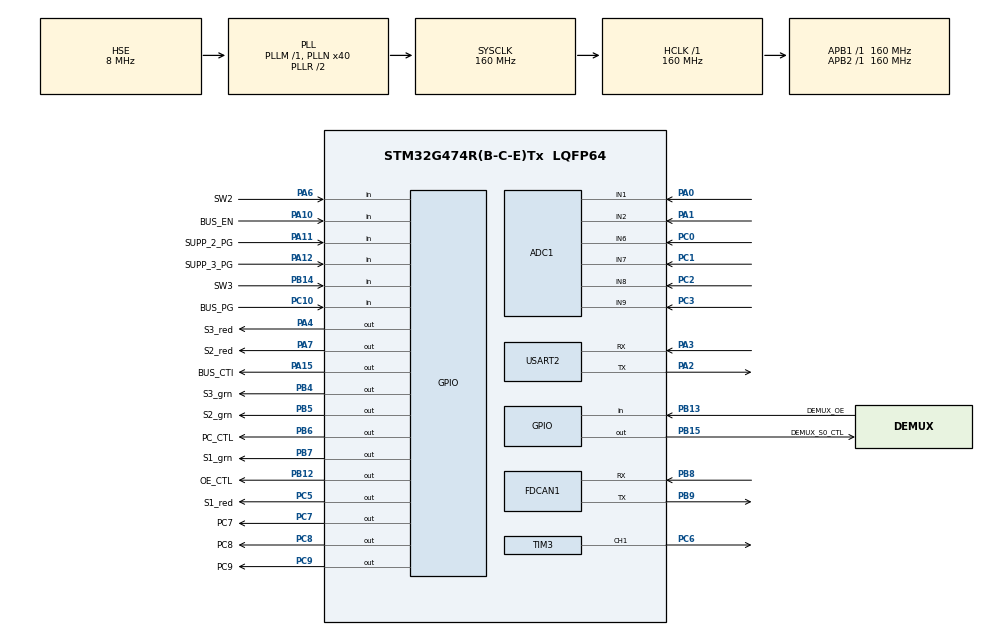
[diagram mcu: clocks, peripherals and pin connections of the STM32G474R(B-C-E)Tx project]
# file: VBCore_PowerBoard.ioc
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ADC1.Channel-0\#ChannelRegularConversion=ADC_CHANNEL_1
ADC1.Channel-1\#ChannelRegularConversion=ADC_CHANNEL_2
ADC1.Channel-2\#ChannelRegularConversion=ADC_CHANNEL_6
ADC1.Channel-3\#ChannelRegularConversion=ADC_CHANNEL_7
ADC1.Channel-4\#ChannelRegularConversion=ADC_CHANNEL_8
ADC1.Channel-5\#ChannelRegularConversion=ADC_CHANNEL_9
ADC1.ClockPrescaler=ADC_CLOCK_ASYNC_DIV128
ADC1.ContinuousConvMode=ENABLE
ADC1.DMAContinuousRequests=ENABLE
ADC1.EOCSelection=ADC_EOC_SEQ_CONV
ADC1.NbrOfConversion=6
ADC1.NbrOfConversionFlag=1
ADC1.OffsetNumber-0\#ChannelRegularConversion=ADC_OFFSET_NONE
ADC1.OffsetNumber-1\#ChannelRegularConversion=ADC_OFFSET_NONE
ADC1.OffsetNumber-2\#ChannelRegularConversion=ADC_OFFSET_NONE
ADC1.OffsetNumber-3\#ChannelRegularConversion=ADC_OFFSET_NONE
ADC1.OffsetNumber-4\#ChannelRegularConversion=ADC_OFFSET_NONE
ADC1.OffsetNumber-5\#ChannelRegularConversion=ADC_OFFSET_NONE
ADC1.Overrun=ADC_OVR_DATA_OVERWRITTEN
ADC1.OversamplingMode=DISABLE
ADC1.Rank-0\#ChannelRegularConversion=1
ADC1.Rank-1\#ChannelRegularConversion=2
ADC1.Rank-2\#ChannelRegularConversion=3
ADC1.Rank-3\#ChannelRegularConversion=4
ADC1.Rank-4\#ChannelRegularConversion=5
ADC1.Rank-5\#ChannelRegularConversion=6
ADC1.SamplingTime-0\#ChannelRegularConversion=ADC_SAMPLETIME_24CYCLES_5
ADC1.SamplingTime-1\#ChannelRegularConversion=ADC_SAMPLETIME_24CYCLES_5
ADC1.SamplingTime-2\#ChannelRegularConversion=ADC_SAMPLETIME_24CYCLES_5
ADC1.SamplingTime-3\#ChannelRegularConversion=ADC_SAMPLETIME_24CYCLES_5
ADC1.SamplingTime-4\#ChannelRegularConversion=ADC_SAMPLETIME_24CYCLES_5
ADC1.SamplingTime-5\#ChannelRegularConversion=ADC_SAMPLETIME_24CYCLES_5
ADC1.master=1
Dma.ADC1.0.Direction=DMA_PERIPH_TO_MEMORY
Dma.ADC1.0.EventEnable=DISABLE
Dma.ADC1.0.Instance=DMA1_Channel1
Dma.ADC1.0.MemDataAlignment=DMA_MDATAALIGN_WORD
Dma.ADC1.0.MemInc=DMA_MINC_ENABLE
Dma.ADC1.0.Mode=DMA_CIRCULAR
Dma.ADC1.0.PeriphDataAlignment=DMA_PDATAALIGN_WORD
Dma.ADC1.0.PeriphInc=DMA_PINC_DISABLE
Dma.ADC1.0.Polarity=HAL_DMAMUX_REQ_GEN_RISING
Dma.ADC1.0.Priority=DMA_PRIORITY_LOW
Dma.ADC1.0.RequestNumber=1
Dma.ADC1.0.SignalID=NONE
Dma.ADC1.0.SyncEnable=DISABLE
Dma.ADC1.0.SyncPolarity=HAL_DMAMUX_SYNC_NO_EVENT
Dma.ADC1.0.SyncRequestNumber=1
Dma.ADC1.0.SyncSignalID=NONE
Dma.Request0=ADC1
FDCAN1.AutoRetransmission=ENABLE
FDCAN1.CalculateBaudRateNominal=1000000
FDCAN1.CalculateTimeBitNominal=1000
FDCAN1.CalculateTimeQuantumNominal=12.5
FDCAN1.ClockDivider=FDCAN_CLOCK_DIV2
FDCAN1.DataPrescaler=1
FDCAN1.DataSyncJumpWidth=4
FDCAN1.DataTimeSeg1=5
FDCAN1.DataTimeSeg2=4
FDCAN1.ExtFiltersNbr=1
FDCAN1.FrameFormat=FDCAN_FRAME_FD_BRS
FDCAN1.NominalPrescaler=1
FDCAN1.NominalSyncJumpWidth=24
FDCAN1.NominalTimeSeg1=55
FDCAN1.NominalTimeSeg2=24
Mcu.Family=STM32G4
Mcu.Name=STM32G474R(B-C-E)Tx
Mcu.Package=LQFP64
NVIC.DMA1_Channel1_IRQn=true\:0\:0\:false\:false\:true\:false\:true\:true
NVIC.PriorityGroup=NVIC_PRIORITYGROUP_4
NVIC.TIM1_UP_TIM16_IRQn=true\:2\:0\:true\:false\:true\:true\:true\:true
NVIC.TIM6_DAC_IRQn=true\:1\:0\:true\:false\:true\:true\:true\:true
NVIC.TIM7_DAC_IRQn=true\:0\:0\:false\:false\:true\:true\:true\:true
PA0.Mode=IN1-Single-Ended
PA0.Signal=ADC1_IN1
PA1.Mode=IN2-Single-Ended
PA1.Signal=ADC1_IN2
PA10.GPIO_Label=BUS_EN
PA10.Signal=GPIO_Input
PA11.GPIO_Label=SUPP_2_PG
PA11.GPIO_PuPd=GPIO_PULLUP
PA11.Signal=GPIO_Input
PA12.GPIO_Label=SUPP_3_PG
PA12.GPIO_PuPd=GPIO_PULLUP
PA12.Signal=GPIO_Input
PA13.Mode=Serial_Wire
PA13.Signal=SYS_JTMS-SWDIO
PA14.Mode=Serial_Wire
PA14.Signal=SYS_JTCK-SWCLK
PA15.GPIO_Label=BUS_CTl
PA15.Signal=GPIO_Output
PA2.Mode=Asynchronous
PA2.Signal=USART2_TX
PA3.Mode=Asynchronous
PA3.Signal=USART2_RX
PA4.GPIO_Label=S3_red
PA4.Signal=GPIO_Output
PA6.GPIO_Label=SW2
PA6.GPIO_PuPd=GPIO_PULLUP
PA6.Signal=GPIO_Input
PA7.GPIO_Label=S2_red
PA7.Signal=GPIO_Output
PB12.GPIO_Label=OE_CTL
PB12.Signal=GPIO_Output
PB13.GPIO_Label=DEMUX_OE
PB13.Signal=GPIO_Input
PB14.GPIO_Label=SW3
PB14.GPIO_PuPd=GPIO_PULLUP
PB14.Signal=GPIO_Input
PB15.GPIO_Label=DEMUX_S0_CTL
PB15.Signal=GPIO_Output
PB4.GPIO_Label=S3_grn
PB4.Signal=GPIO_Output
PB5.GPIO_Label=S2_grn
PB5.Signal=GPIO_Output
PB6.GPIO_Label=PC_CTL
PB6.Signal=GPIO_Output
PB7.GPIO_Label=S1_grn
PB7.Signal=GPIO_Output
PB8-BOOT0.Mode=FDCAN_Activate
PB8-BOOT0.Signal=FDCAN1_RX
PB9.Mode=FDCAN_Activate
PB9.Signal=FDCAN1_TX
PC0.Mode=IN6-Single-Ended
PC0.Signal=ADC1_IN6
PC1.Mode=IN7-Single-Ended
PC1.Signal=ADC1_IN7
PC10.GPIO_Label=BUS_PG
PC10.GPIO_PuPd=GPIO_PULLUP
PC10.Signal=GPIO_Input
PC2.Mode=IN8-Single-Ended
PC2.Signal=ADC1_IN8
PC3.Mode=IN9-Single-Ended
PC3.Signal=ADC1_IN9
PC5.GPIO_Label=S1_red
PC5.Signal=GPIO_Output
PC6.Signal=S_TIM3_CH1
PC7.GPIO_Label=PC7
PC7.Signal=GPIO_Output
PC8.GPIO_Label=PC8
PC8.Signal=GPIO_Output
PC9.GPIO_Label=PC9
PC9.Signal=GPIO_Output
PF0-OSC_IN.Mode=HSE-External-Oscillator
PF0-OSC_IN.Signal=RCC_OSC_IN
PF1-OSC_OUT.Mode=HSE-External-Oscillator
PF1-OSC_OUT.Signal=RCC_OSC_OUT
ProjectManager.HeapSize=0x2000
ProjectManager.StackSize=0x4000
ProjectManager.TargetToolchain=EWARM V8
RCC.ADC12Freq_Value=160000000
RCC.ADC345Freq_Value=160000000
RCC.AHBFreq_Value=160000000
RCC.APB1Freq_Value=160000000
RCC.APB1TimFreq_Value=160000000
RCC.APB2Freq_Value=160000000
RCC.APB2TimFreq_Value=160000000
RCC.CortexFreq_Value=160000000
RCC.EXTERNAL_CLOCK_VALUE=12288000
RCC.HCLKFreq_Value=160000000
RCC.HSE_VALUE=8000000
RCC.HSI48_VALUE=48000000
RCC.HSI_VALUE=16000000
RCC.LSE_VALUE=32768
RCC.PLLN=40
RCC.PLLSourceVirtual=RCC_PLLSOURCE_HSE
RCC.SYSCLKFreq_VALUE=160000000
RCC.SYSCLKSource=RCC_SYSCLKSOURCE_PLLCLK
RCC.USBFreq_Value=160000000
RCC.VCOOutputFreq_Value=320000000
SH.S_TIM3_CH1.0=TIM3_CH1,PWM Generation1 CH1
TIM16.PeriodNoDither=4999
TIM16.Prescaler=159
TIM3.Channel-PWM\ Generation1\ CH1=TIM_CHANNEL_1
TIM3.PeriodNoDither=255
TIM3.Prescaler=624
TIM3.PulseNoDither_1=10
TIM6.PeriodNoDither=4999
TIM6.Prescaler=159
TIM7.PeriodNoDither=49999
TIM7.Prescaler=159
USART2.VirtualMode-Asynchronous=VM_ASYNC
VP_SYS_VS_DBSignals.Mode=DisableDeadBatterySignals
VP_TIM16_VS_ClockSourceINT.Mode=Enable_Timer
VP_TIM6_VS_ClockSourceINT.Mode=Enable_Timer
VP_TIM7_VS_ClockSourceINT.Mode=Enable_Timer
board=custom

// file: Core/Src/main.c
/* USER CODE BEGIN Header */
/**
  ******************************************************************************
  * @file           : main.c
  * @brief          : Main program body
  ******************************************************************************
  * @attention
  *
  * Copyright (c) 2023 STMicroelectronics.
  * All rights reserved.
  *
  * This software is licensed under terms that can be found in the LICENSE file
  * in the root directory of this software component.
  * If no LICENSE file comes with this software, it is provided AS-IS.
  *
  ******************************************************************************
  */
/* USER CODE END Header */
#include "main.h"

/* USER CODE BEGIN Includes */
#include "my_helpers.h"
#include "communication.h"

#include <stdio.h>
#include <stdarg.h>
/* USER CODE END Includes */

/* USER CODE BEGIN PTD */
typedef enum {
  USER,
  WARNING,
  ALARM
} buzzer_mutex_priorities ;

typedef struct
{
  float raw;
  float LPF;
  float HPF;
  uint8_t charged;
  uint8_t attached;

  uint32_t PG_pin;
  GPIO_TypeDef * PG_port;
} input_src_stat;
/* USER CODE END PTD */

/* USER CODE BEGIN PD */
//#define auto_prime_selection
//#define curr_sns_inver

/* Enable these defines for boards with wire jumper on PA5 pin
#undef BUS_CTl_Pin
#undef BUS_CTl_GPIO_Port

#define BUS_CTl_Pin LL_GPIO_PIN_5
#define BUS_CTl_GPIO_Port GPIOA
*/
/* USER CODE END PD */

ADC_HandleTypeDef hadc1;
DMA_HandleTypeDef hdma_adc1;

FDCAN_HandleTypeDef hfdcan1;

TIM_HandleTypeDef htim3;
TIM_HandleTypeDef htim6;
TIM_HandleTypeDef htim7;
TIM_HandleTypeDef htim16;

UART_HandleTypeDef huart2;

/* USER CODE BEGIN PV */
uint64_t TIM7_ITs = 0; // counter of microseconds timesource ITs

#define ADC_buf_size 6
uint32_t ADC1_buf[ADC_buf_size] = {0};

input_src_stat VIN1;
input_src_stat VIN2 = { .PG_pin = SUPP_2_PG_Pin, .PG_port = SUPP_2_PG_GPIO_Port};
input_src_stat VIN3 = { .PG_pin = SUPP_3_PG_Pin, .PG_port = SUPP_3_PG_GPIO_Port};

input_src_stat CHRG;

input_src_stat *prime_VIN;

input_src_stat *prime_VOUT = NULL;

/********** User accessible variables **********/
uint8_t prime = 0; // selected power source variable. RW

const float uvlo_level = 30.0f; // battery discharged voltage level, Volts
const float uvlo_hyst = 1.5f; // battery discharged hysteresis, Volts

const float src_charged_level = 40.0f; // battery charged voltage level, Volts

const float nom_chrg_curr = 15.0f;

const uint32_t bus_start_timeout = 30000u; // timeout for bus output reaching PowerGood status, microseconds
const uint8_t emergency_start_threshold = 3u; // number of attempts to start the bus before an emergency shutdown

uint8_t default_prime = 0; // variable to store the prefered prime power source. 0 for input "2", 1 for "3"

uint8_t emergency_stat = 0; // flag indicating the emergency button is pressed. RO
uint8_t pc_enable = 1; // PC power bus control. RW
uint8_t bus_enable = 1; // main power bus control. RW

uint8_t pc_stat = 1; // PC power bus status. RO
uint8_t bus_stat = 1; // main power bus status. RO
/* USER CODE END PV */

void SystemClock_Config(void);
static void MX_GPIO_Init(void);
static void MX_DMA_Init(void);
static void MX_ADC1_Init(void);
static void MX_TIM3_Init(void);
static void MX_TIM6_Init(void);
static void MX_TIM7_Init(void);
static void MX_FDCAN1_Init(void);
static void MX_TIM16_Init(void);
static void MX_USART2_UART_Init(void);
/* USER CODE BEGIN PFP */

#if defined ( __ICCARM__ ) /*!< IAR Compiler */
#pragma optimize s=none
uint64_t micros()
#elif defined ( __GNUC__ ) /*!< GNU Compiler */
uint64_t __attribute__((optimize("O0"))) micros()
#endif
{
  return (uint64_t)(__HAL_TIM_GET_COUNTER(&htim7) + 50000u * TIM7_ITs);
}

#if defined ( __ICCARM__ ) /*!< IAR Compiler */
#pragma optimize s=none
void micros_delay( uint64_t delay )
#elif defined ( __GNUC__ ) /*!< GNU Compiler */
void __attribute__((optimize("O0"))) micros_delay( uint64_t delay )
#endif
{
  uint64_t timestamp = micros();
  while( micros() < timestamp + delay );
}

void UART2_printf( const char * format, ... );
/* USER CODE END PFP */

int main(void)
{

  /* MCU Configuration--------------------------------------------------------*/

  /* Reset of all peripherals, Initializes the Flash interface and the Systick. */
  HAL_Init();

  /* Configure the system clock */
  SystemClock_Config();

  /* Initialize all configured peripherals */
  MX_GPIO_Init();
  MX_DMA_Init();
  MX_ADC1_Init();
  MX_TIM3_Init();
  MX_TIM6_Init();
  MX_TIM7_Init();
  MX_FDCAN1_Init();
  MX_TIM16_Init();
  MX_USART2_UART_Init();
  /* USER CODE BEGIN 2 */
  HAL_Delay(300); // prevents MOSFETs torture if board is forced to restart frequently

  HAL_TIM_Base_Start_IT(&htim7); // enable microseconds timesource

  HAL_ADCEx_Calibration_Start(&hadc1, ADC_SINGLE_ENDED); // apply factory ADC calibration settings
  HAL_ADC_Start_DMA(&hadc1, ADC1_buf, ADC_buf_size); // enable ADC and bind DMA to the output buffer

  // FDCAN configuration
  FDCAN_FilterTypeDef sFilterConfig;
  sFilterConfig.IdType = FDCAN_EXTENDED_ID;
  sFilterConfig.FilterIndex = 0;
  sFilterConfig.FilterType = FDCAN_FILTER_RANGE;
  sFilterConfig.FilterConfig = FDCAN_FILTER_TO_RXFIFO0;
  sFilterConfig.FilterID1 = 0x0;
  sFilterConfig.FilterID2 = 0x1FFFFFFF;

  // Configure CAN frames filtering
  if( HAL_FDCAN_ConfigFilter(&hfdcan1, &sFilterConfig) != HAL_OK ){ Error_Handler(); }

  // Configure global filter: Filter all remote frames with STD and EXT ID. Reject non matching frames with STD ID and EXT ID
  if( HAL_FDCAN_ConfigGlobalFilter(&hfdcan1, FDCAN_REJECT, FDCAN_REJECT, FDCAN_FILTER_REMOTE, FDCAN_FILTER_REMOTE) != HAL_OK ){ Error_Handler(); }

  // Activate Rx FIFO 0 new message notification
  //if( HAL_FDCAN_ActivateNotification(&hfdcan1, FDCAN_IT_RX_FIFO0_NEW_MESSAGE, 0) != HAL_OK ){ Error_Handler(); }

  // Configure and enable Tx Delay Compensation, required for BRS mode.
  if( HAL_FDCAN_ConfigTxDelayCompensation(&hfdcan1, 5, 0) != HAL_OK){ Error_Handler(); }
  if( HAL_FDCAN_EnableTxDelayCompensation(&hfdcan1) != HAL_OK){ Error_Handler(); }

  if( HAL_FDCAN_ConfigRxFifoOverwrite( &hfdcan1, FDCAN_RX_FIFO0, FDCAN_RX_FIFO_OVERWRITE) != HAL_OK){ Error_Handler(); }

    // Start FDCAN periphery
  if( HAL_FDCAN_Start(&hfdcan1) != HAL_OK ){ Error_Handler(); }

  HAL_TIM_Base_Start_IT(&htim6); // processes ADC values in TIM6 interrupt

  LL_GPIO_SetOutputPin(PC_CTL_GPIO_Port, PC_CTL_Pin); // enable PC bus

  HAL_Delay(100);
  HAL_TIM_Base_Start_IT(&htim16); // processes power control logic in TIM16 interrupt
  HAL_Delay(10);

  UART2_printf( "UVLO=%4.1f HYST=%4.1f FULL_CHRG=%4.1f CHRG_CURR=%4.1f\r\n", uvlo_level, uvlo_hyst, src_charged_level, nom_chrg_curr);

  uavcan_setup();

  /* USER CODE END 2 */

  /* Infinite loop */
  /* USER CODE BEGIN WHILE */
  while (1)
  {
    uavcan_spin();

    /* USER CODE END WHILE */

  }
}

void SystemClock_Config(void)
{
  RCC_OscInitTypeDef RCC_OscInitStruct = {0};
  RCC_ClkInitTypeDef RCC_ClkInitStruct = {0};

  /** Configure the main internal regulator output voltage
  */
  HAL_PWREx_ControlVoltageScaling(PWR_REGULATOR_VOLTAGE_SCALE1_BOOST);

  /** Initializes the RCC Oscillators according to the specified parameters
  * in the RCC_OscInitTypeDef structure.
  */
  RCC_OscInitStruct.OscillatorType = RCC_OSCILLATORTYPE_HSE;
  RCC_OscInitStruct.HSEState = RCC_HSE_ON;
  RCC_OscInitStruct.PLL.PLLState = RCC_PLL_ON;
  RCC_OscInitStruct.PLL.PLLSource = RCC_PLLSOURCE_HSE;
  RCC_OscInitStruct.PLL.PLLM = RCC_PLLM_DIV1;
  RCC_OscInitStruct.PLL.PLLN = 40;
  RCC_OscInitStruct.PLL.PLLP = RCC_PLLP_DIV2;
  RCC_OscInitStruct.PLL.PLLQ = RCC_PLLQ_DIV2;
  RCC_OscInitStruct.PLL.PLLR = RCC_PLLR_DIV2;
  if (HAL_RCC_OscConfig(&RCC_OscInitStruct) != HAL_OK)
  {
    Error_Handler();
  }

  /** Initializes the CPU, AHB and APB buses clocks
  */
  RCC_ClkInitStruct.ClockType = RCC_CLOCKTYPE_HCLK|RCC_CLOCKTYPE_SYSCLK
                              |RCC_CLOCKTYPE_PCLK1|RCC_CLOCKTYPE_PCLK2;
  RCC_ClkInitStruct.SYSCLKSource = RCC_SYSCLKSOURCE_PLLCLK;
  RCC_ClkInitStruct.AHBCLKDivider = RCC_SYSCLK_DIV1;
  RCC_ClkInitStruct.APB1CLKDivider = RCC_HCLK_DIV1;
  RCC_ClkInitStruct.APB2CLKDivider = RCC_HCLK_DIV1;

  if (HAL_RCC_ClockConfig(&RCC_ClkInitStruct, FLASH_LATENCY_4) != HAL_OK)
  {
    Error_Handler();
  }
}

static void MX_ADC1_Init(void)
{

  ADC_MultiModeTypeDef multimode = {0};
  ADC_ChannelConfTypeDef sConfig = {0};

  /** Common config
  */
  hadc1.Instance = ADC1;
  hadc1.Init.ClockPrescaler = ADC_CLOCK_ASYNC_DIV128;
  hadc1.Init.Resolution = ADC_RESOLUTION_12B;
  hadc1.Init.DataAlign = ADC_DATAALIGN_RIGHT;
  hadc1.Init.GainCompensation = 0;
  hadc1.Init.ScanConvMode = ADC_SCAN_ENABLE;
  hadc1.Init.EOCSelection = ADC_EOC_SEQ_CONV;
  hadc1.Init.LowPowerAutoWait = DISABLE;
  hadc1.Init.ContinuousConvMode = ENABLE;
  hadc1.Init.NbrOfConversion = 6;
  hadc1.Init.DiscontinuousConvMode = DISABLE;
  hadc1.Init.ExternalTrigConv = ADC_SOFTWARE_START;
  hadc1.Init.ExternalTrigConvEdge = ADC_EXTERNALTRIGCONVEDGE_NONE;
  hadc1.Init.DMAContinuousRequests = ENABLE;
  hadc1.Init.Overrun = ADC_OVR_DATA_OVERWRITTEN;
  hadc1.Init.OversamplingMode = DISABLE;
  if (HAL_ADC_Init(&hadc1) != HAL_OK)
  {
    Error_Handler();
  }

  /** Configure the ADC multi-mode
  */
  multimode.Mode = ADC_MODE_INDEPENDENT;
  if (HAL_ADCEx_MultiModeConfigChannel(&hadc1, &multimode) != HAL_OK)
  {
    Error_Handler();
  }

  /** Configure Regular Channel
  */
  sConfig.Channel = ADC_CHANNEL_1;
  sConfig.Rank = ADC_REGULAR_RANK_1;
  sConfig.SamplingTime = ADC_SAMPLETIME_24CYCLES_5;
  sConfig.SingleDiff = ADC_SINGLE_ENDED;
  sConfig.OffsetNumber = ADC_OFFSET_NONE;
  sConfig.Offset = 0;
  if (HAL_ADC_ConfigChannel(&hadc1, &sConfig) != HAL_OK)
  {
    Error_Handler();
  }

  /** Configure Regular Channel
  */
  sConfig.Channel = ADC_CHANNEL_2;
  sConfig.Rank = ADC_REGULAR_RANK_2;
  if (HAL_ADC_ConfigChannel(&hadc1, &sConfig) != HAL_OK)
  {
    Error_Handler();
  }

  /** Configure Regular Channel
  */
  sConfig.Channel = ADC_CHANNEL_6;
  sConfig.Rank = ADC_REGULAR_RANK_3;
  if (HAL_ADC_ConfigChannel(&hadc1, &sConfig) != HAL_OK)
  {
    Error_Handler();
  }

  /** Configure Regular Channel
  */
  sConfig.Channel = ADC_CHANNEL_7;
  sConfig.Rank = ADC_REGULAR_RANK_4;
  if (HAL_ADC_ConfigChannel(&hadc1, &sConfig) != HAL_OK)
  {
    Error_Handler();
  }

  /** Configure Regular Channel
  */
  sConfig.Channel = ADC_CHANNEL_8;
  sConfig.Rank = ADC_REGULAR_RANK_5;
  if (HAL_ADC_ConfigChannel(&hadc1, &sConfig) != HAL_OK)
  {
    Error_Handler();
  }

  /** Configure Regular Channel
  */
  sConfig.Channel = ADC_CHANNEL_9;
  sConfig.Rank = ADC_REGULAR_RANK_6;
  if (HAL_ADC_ConfigChannel(&hadc1, &sConfig) != HAL_OK)
  {
    Error_Handler();
  }

}

static void MX_FDCAN1_Init(void)
{

  hfdcan1.Instance = FDCAN1;
  hfdcan1.Init.ClockDivider = FDCAN_CLOCK_DIV2;
  hfdcan1.Init.FrameFormat = FDCAN_FRAME_FD_BRS;
  hfdcan1.Init.Mode = FDCAN_MODE_NORMAL;
  hfdcan1.Init.AutoRetransmission = ENABLE;
  hfdcan1.Init.TransmitPause = DISABLE;
  hfdcan1.Init.ProtocolException = DISABLE;
  hfdcan1.Init.NominalPrescaler = 1;
  hfdcan1.Init.NominalSyncJumpWidth = 24;
  hfdcan1.Init.NominalTimeSeg1 = 55;
  hfdcan1.Init.NominalTimeSeg2 = 24;
  hfdcan1.Init.DataPrescaler = 1;
  hfdcan1.Init.DataSyncJumpWidth = 4;
  hfdcan1.Init.DataTimeSeg1 = 5;
  hfdcan1.Init.DataTimeSeg2 = 4;
  hfdcan1.Init.StdFiltersNbr = 0;
  hfdcan1.Init.ExtFiltersNbr = 1;
  hfdcan1.Init.TxFifoQueueMode = FDCAN_TX_FIFO_OPERATION;
  if (HAL_FDCAN_Init(&hfdcan1) != HAL_OK)
  {
    Error_Handler();
  }

}

static void MX_TIM3_Init(void)
{

  TIM_MasterConfigTypeDef sMasterConfig = {0};
  TIM_OC_InitTypeDef sConfigOC = {0};

  htim3.Instance = TIM3;
  htim3.Init.Prescaler = 624;
  htim3.Init.CounterMode = TIM_COUNTERMODE_UP;
  htim3.Init.Period = 255;
  htim3.Init.ClockDivision = TIM_CLOCKDIVISION_DIV1;
  htim3.Init.AutoReloadPreload = TIM_AUTORELOAD_PRELOAD_DISABLE;
  if (HAL_TIM_PWM_Init(&htim3) != HAL_OK)
  {
    Error_Handler();
  }
  sMasterConfig.MasterOutputTrigger = TIM_TRGO_RESET;
  sMasterConfig.MasterSlaveMode = TIM_MASTERSLAVEMODE_DISABLE;
  if (HAL_TIMEx_MasterConfigSynchronization(&htim3, &sMasterConfig) != HAL_OK)
  {
    Error_Handler();
  }
  sConfigOC.OCMode = TIM_OCMODE_PWM1;
  sConfigOC.Pulse = 10;
  sConfigOC.OCPolarity = TIM_OCPOLARITY_HIGH;
  sConfigOC.OCFastMode = TIM_OCFAST_DISABLE;
  if (HAL_TIM_PWM_ConfigChannel(&htim3, &sConfigOC, TIM_CHANNEL_1) != HAL_OK)
  {
    Error_Handler();
  }
  HAL_TIM_MspPostInit(&htim3);

}

static void MX_TIM6_Init(void)
{

  TIM_MasterConfigTypeDef sMasterConfig = {0};

  htim6.Instance = TIM6;
  htim6.Init.Prescaler = 159;
  htim6.Init.CounterMode = TIM_COUNTERMODE_UP;
  htim6.Init.Period = 4999;
  htim6.Init.AutoReloadPreload = TIM_AUTORELOAD_PRELOAD_DISABLE;
  if (HAL_TIM_Base_Init(&htim6) != HAL_OK)
  {
    Error_Handler();
  }
  sMasterConfig.MasterOutputTrigger = TIM_TRGO_RESET;
  sMasterConfig.MasterSlaveMode = TIM_MASTERSLAVEMODE_DISABLE;
  if (HAL_TIMEx_MasterConfigSynchronization(&htim6, &sMasterConfig) != HAL_OK)
  {
    Error_Handler();
  }

}

static void MX_TIM7_Init(void)
{

  TIM_MasterConfigTypeDef sMasterConfig = {0};

  htim7.Instance = TIM7;
  htim7.Init.Prescaler = 159;
  htim7.Init.CounterMode = TIM_COUNTERMODE_UP;
  htim7.Init.Period = 49999;
  htim7.Init.AutoReloadPreload = TIM_AUTORELOAD_PRELOAD_DISABLE;
  if (HAL_TIM_Base_Init(&htim7) != HAL_OK)
  {
    Error_Handler();
  }
  sMasterConfig.MasterOutputTrigger = TIM_TRGO_RESET;
  sMasterConfig.MasterSlaveMode = TIM_MASTERSLAVEMODE_DISABLE;
  if (HAL_TIMEx_MasterConfigSynchronization(&htim7, &sMasterConfig) != HAL_OK)
  {
    Error_Handler();
  }

}

static void MX_TIM16_Init(void)
{

  htim16.Instance = TIM16;
  htim16.Init.Prescaler = 159;
  htim16.Init.CounterMode = TIM_COUNTERMODE_UP;
  htim16.Init.Period = 4999;
  htim16.Init.ClockDivision = TIM_CLOCKDIVISION_DIV1;
  htim16.Init.RepetitionCounter = 0;
  htim16.Init.AutoReloadPreload = TIM_AUTORELOAD_PRELOAD_DISABLE;
  if (HAL_TIM_Base_Init(&htim16) != HAL_OK)
  {
    Error_Handler();
  }

}

static void MX_USART2_UART_Init(void)
{

  huart2.Instance = USART2;
  huart2.Init.BaudRate = 115200;
  huart2.Init.WordLength = UART_WORDLENGTH_8B;
  huart2.Init.StopBits = UART_STOPBITS_1;
  huart2.Init.Parity = UART_PARITY_NONE;
  huart2.Init.Mode = UART_MODE_TX_RX;
  huart2.Init.HwFlowCtl = UART_HWCONTROL_NONE;
  huart2.Init.OverSampling = UART_OVERSAMPLING_16;
  huart2.Init.OneBitSampling = UART_ONE_BIT_SAMPLE_DISABLE;
  huart2.Init.ClockPrescaler = UART_PRESCALER_DIV1;
  huart2.AdvancedInit.AdvFeatureInit = UART_ADVFEATURE_NO_INIT;
  if (HAL_UART_Init(&huart2) != HAL_OK)
  {
    Error_Handler();
  }
  if (HAL_UARTEx_SetTxFifoThreshold(&huart2, UART_TXFIFO_THRESHOLD_1_8) != HAL_OK)
  {
    Error_Handler();
  }
  if (HAL_UARTEx_SetRxFifoThreshold(&huart2, UART_RXFIFO_THRESHOLD_1_8) != HAL_OK)
  {
    Error_Handler();
  }
  if (HAL_UARTEx_DisableFifoMode(&huart2) != HAL_OK)
  {
    Error_Handler();
  }

}

static void MX_DMA_Init(void)
{

  /* DMA controller clock enable */
  __HAL_RCC_DMAMUX1_CLK_ENABLE();
  __HAL_RCC_DMA1_CLK_ENABLE();

  /* DMA interrupt init */
  /* DMA1_Channel1_IRQn interrupt configuration */
  HAL_NVIC_SetPriority(DMA1_Channel1_IRQn, 0, 0);
  HAL_NVIC_EnableIRQ(DMA1_Channel1_IRQn);

}

static void MX_GPIO_Init(void)
{
  LL_GPIO_InitTypeDef GPIO_InitStruct = {0};

  /* GPIO Ports Clock Enable */
  LL_AHB2_GRP1_EnableClock(LL_AHB2_GRP1_PERIPH_GPIOF);
  LL_AHB2_GRP1_EnableClock(LL_AHB2_GRP1_PERIPH_GPIOC);
  LL_AHB2_GRP1_EnableClock(LL_AHB2_GRP1_PERIPH_GPIOA);
  LL_AHB2_GRP1_EnableClock(LL_AHB2_GRP1_PERIPH_GPIOB);

  /**/
  LL_GPIO_ResetOutputPin(S3_red_GPIO_Port, S3_red_Pin);

  /**/
  LL_GPIO_ResetOutputPin(S2_red_GPIO_Port, S2_red_Pin);

  /**/
  LL_GPIO_ResetOutputPin(S1_red_GPIO_Port, S1_red_Pin);

  /**/
  LL_GPIO_ResetOutputPin(OE_CTL_GPIO_Port, OE_CTL_Pin);

  /**/
  LL_GPIO_ResetOutputPin(DEMUX_S0_CTL_GPIO_Port, DEMUX_S0_CTL_Pin);

  /**/
  LL_GPIO_ResetOutputPin(PC7_GPIO_Port, PC7_Pin);

  /**/
  LL_GPIO_ResetOutputPin(PC8_GPIO_Port, PC8_Pin);

  /**/
  LL_GPIO_ResetOutputPin(PC9_GPIO_Port, PC9_Pin);

  /**/
  LL_GPIO_ResetOutputPin(BUS_CTl_GPIO_Port, BUS_CTl_Pin);

  /**/
  LL_GPIO_ResetOutputPin(S3_grn_GPIO_Port, S3_grn_Pin);

  /**/
  LL_GPIO_ResetOutputPin(S2_grn_GPIO_Port, S2_grn_Pin);

  /**/
  LL_GPIO_ResetOutputPin(PC_CTL_GPIO_Port, PC_CTL_Pin);

  /**/
  LL_GPIO_ResetOutputPin(S1_grn_GPIO_Port, S1_grn_Pin);

  /**/
  GPIO_InitStruct.Pin = S3_red_Pin;
  GPIO_InitStruct.Mode = LL_GPIO_MODE_OUTPUT;
  GPIO_InitStruct.Speed = LL_GPIO_SPEED_FREQ_LOW;
  GPIO_InitStruct.OutputType = LL_GPIO_OUTPUT_PUSHPULL;
  GPIO_InitStruct.Pull = LL_GPIO_PULL_NO;
  LL_GPIO_Init(S3_red_GPIO_Port, &GPIO_InitStruct);

  /**/
  GPIO_InitStruct.Pin = SW2_Pin;
  GPIO_InitStruct.Mode = LL_GPIO_MODE_INPUT;
  GPIO_InitStruct.Pull = LL_GPIO_PULL_UP;
  LL_GPIO_Init(SW2_GPIO_Port, &GPIO_InitStruct);

  /**/
  GPIO_InitStruct.Pin = S2_red_Pin;
  GPIO_InitStruct.Mode = LL_GPIO_MODE_OUTPUT;
  GPIO_InitStruct.Speed = LL_GPIO_SPEED_FREQ_LOW;
  GPIO_InitStruct.OutputType = LL_GPIO_OUTPUT_PUSHPULL;
  GPIO_InitStruct.Pull = LL_GPIO_PULL_NO;
  LL_GPIO_Init(S2_red_GPIO_Port, &GPIO_InitStruct);

  /**/
  GPIO_InitStruct.Pin = S1_red_Pin;
  GPIO_InitStruct.Mode = LL_GPIO_MODE_OUTPUT;
  GPIO_InitStruct.Speed = LL_GPIO_SPEED_FREQ_LOW;
  GPIO_InitStruct.OutputType = LL_GPIO_OUTPUT_PUSHPULL;
  GPIO_InitStruct.Pull = LL_GPIO_PULL_NO;
  LL_GPIO_Init(S1_red_GPIO_Port, &GPIO_InitStruct);

  /**/
  GPIO_InitStruct.Pin = OE_CTL_Pin;
  GPIO_InitStruct.Mode = LL_GPIO_MODE_OUTPUT;
  GPIO_InitStruct.Speed = LL_GPIO_SPEED_FREQ_LOW;
  GPIO_InitStruct.OutputType = LL_GPIO_OUTPUT_PUSHPULL;
  GPIO_InitStruct.Pull = LL_GPIO_PULL_NO;
  LL_GPIO_Init(OE_CTL_GPIO_Port, &GPIO_InitStruct);

  /**/
  GPIO_InitStruct.Pin = DEMUX_OE_Pin;
  GPIO_InitStruct.Mode = LL_GPIO_MODE_INPUT;
  GPIO_InitStruct.Pull = LL_GPIO_PULL_NO;
  LL_GPIO_Init(DEMUX_OE_GPIO_Port, &GPIO_InitStruct);

  /**/
  GPIO_InitStruct.Pin = SW3_Pin;
  GPIO_InitStruct.Mode = LL_GPIO_MODE_INPUT;
  GPIO_InitStruct.Pull = LL_GPIO_PULL_UP;
  LL_GPIO_Init(SW3_GPIO_Port, &GPIO_InitStruct);

  /**/
  GPIO_InitStruct.Pin = DEMUX_S0_CTL_Pin;
  GPIO_InitStruct.Mode = LL_GPIO_MODE_OUTPUT;
  GPIO_InitStruct.Speed = LL_GPIO_SPEED_FREQ_LOW;
  GPIO_InitStruct.OutputType = LL_GPIO_OUTPUT_PUSHPULL;
  GPIO_InitStruct.Pull = LL_GPIO_PULL_NO;
  LL_GPIO_Init(DEMUX_S0_CTL_GPIO_Port, &GPIO_InitStruct);

  /**/
  GPIO_InitStruct.Pin = PC7_Pin;
  GPIO_InitStruct.Mode = LL_GPIO_MODE_OUTPUT;
  GPIO_InitStruct.Speed = LL_GPIO_SPEED_FREQ_LOW;
  GPIO_InitStruct.OutputType = LL_GPIO_OUTPUT_PUSHPULL;
  GPIO_InitStruct.Pull = LL_GPIO_PULL_NO;
  LL_GPIO_Init(PC7_GPIO_Port, &GPIO_InitStruct);

  /**/
  GPIO_InitStruct.Pin = PC8_Pin;
  GPIO_InitStruct.Mode = LL_GPIO_MODE_OUTPUT;
  GPIO_InitStruct.Speed = LL_GPIO_SPEED_FREQ_LOW;
  GPIO_InitStruct.OutputType = LL_GPIO_OUTPUT_PUSHPULL;
  GPIO_InitStruct.Pull = LL_GPIO_PULL_NO;
  LL_GPIO_Init(PC8_GPIO_Port, &GPIO_InitStruct);

  /**/
  GPIO_InitStruct.Pin = PC9_Pin;
  GPIO_InitStruct.Mode = LL_GPIO_MODE_OUTPUT;
  GPIO_InitStruct.Speed = LL_GPIO_SPEED_FREQ_LOW;
  GPIO_InitStruct.OutputType = LL_GPIO_OUTPUT_PUSHPULL;
  GPIO_InitStruct.Pull = LL_GPIO_PULL_NO;
  LL_GPIO_Init(PC9_GPIO_Port, &GPIO_InitStruct);

  /**/
  GPIO_InitStruct.Pin = BUS_EN_Pin;
  GPIO_InitStruct.Mode = LL_GPIO_MODE_INPUT;
  GPIO_InitStruct.Pull = LL_GPIO_PULL_NO;
  LL_GPIO_Init(BUS_EN_GPIO_Port, &GPIO_InitStruct);

  /**/
  GPIO_InitStruct.Pin = SUPP_2_PG_Pin;
  GPIO_InitStruct.Mode = LL_GPIO_MODE_INPUT;
  GPIO_InitStruct.Pull = LL_GPIO_PULL_UP;
  LL_GPIO_Init(SUPP_2_PG_GPIO_Port, &GPIO_InitStruct);

  /**/
  GPIO_InitStruct.Pin = SUPP_3_PG_Pin;
  GPIO_InitStruct.Mode = LL_GPIO_MODE_INPUT;
  GPIO_InitStruct.Pull = LL_GPIO_PULL_UP;
  LL_GPIO_Init(SUPP_3_PG_GPIO_Port, &GPIO_InitStruct);

  /**/
  GPIO_InitStruct.Pin = BUS_CTl_Pin;
  GPIO_InitStruct.Mode = LL_GPIO_MODE_OUTPUT;
  GPIO_InitStruct.Speed = LL_GPIO_SPEED_FREQ_LOW;
  GPIO_InitStruct.OutputType = LL_GPIO_OUTPUT_PUSHPULL;
  GPIO_InitStruct.Pull = LL_GPIO_PULL_NO;
  LL_GPIO_Init(BUS_CTl_GPIO_Port, &GPIO_InitStruct);

  /**/
  GPIO_InitStruct.Pin = BUS_PG_Pin;
  GPIO_InitStruct.Mode = LL_GPIO_MODE_INPUT;
  GPIO_InitStruct.Pull = LL_GPIO_PULL_UP;
  LL_GPIO_Init(BUS_PG_GPIO_Port, &GPIO_InitStruct);

  /**/
  GPIO_InitStruct.Pin = S3_grn_Pin;
  GPIO_InitStruct.Mode = LL_GPIO_MODE_OUTPUT;
  GPIO_InitStruct.Speed = LL_GPIO_SPEED_FREQ_LOW;
  GPIO_InitStruct.OutputType = LL_GPIO_OUTPUT_PUSHPULL;
  GPIO_InitStruct.Pull = LL_GPIO_PULL_NO;
  LL_GPIO_Init(S3_grn_GPIO_Port, &GPIO_InitStruct);

  /**/
  GPIO_InitStruct.Pin = S2_grn_Pin;
  GPIO_InitStruct.Mode = LL_GPIO_MODE_OUTPUT;
  GPIO_InitStruct.Speed = LL_GPIO_SPEED_FREQ_LOW;
  GPIO_InitStruct.OutputType = LL_GPIO_OUTPUT_PUSHPULL;
  GPIO_InitStruct.Pull = LL_GPIO_PULL_NO;
  LL_GPIO_Init(S2_grn_GPIO_Port, &GPIO_InitStruct);

  /**/
  GPIO_InitStruct.Pin = PC_CTL_Pin;
  GPIO_InitStruct.Mode = LL_GPIO_MODE_OUTPUT;
  GPIO_InitStruct.Speed = LL_GPIO_SPEED_FREQ_LOW;
  GPIO_InitStruct.OutputType = LL_GPIO_OUTPUT_PUSHPULL;
  GPIO_InitStruct.Pull = LL_GPIO_PULL_NO;
  LL_GPIO_Init(PC_CTL_GPIO_Port, &GPIO_InitStruct);

  /**/
  GPIO_InitStruct.Pin = S1_grn_Pin;
  GPIO_InitStruct.Mode = LL_GPIO_MODE_OUTPUT;
  GPIO_InitStruct.Speed = LL_GPIO_SPEED_FREQ_LOW;
  GPIO_InitStruct.OutputType = LL_GPIO_OUTPUT_PUSHPULL;
  GPIO_InitStruct.Pull = LL_GPIO_PULL_NO;
  LL_GPIO_Init(S1_grn_GPIO_Port, &GPIO_InitStruct);

}

/* USER CODE BEGIN 4 */
float get_actual_current(void)
{
  float ACS_output_v = ( (float)ADC1_buf[1] * 3.3f / 4096.0f ) - 1.65f;

  #ifdef curr_sns_inver
  ACS_output_v *= -1.0f;
  #endif

  // ACS725LLCTR-50AB Sensitivity = 26.4 mV/A
  return ACS_output_v / 0.0264f;
}

uint8_t check_battery_input( input_src_stat * VIN )
{
  if( VIN->HPF < -5.0f )
  {
    micros_delay( 1000 );

    if( get_actual_current() < 0.4f ) // exclude transients. the source is disconnected only if current ~0A
    {
      VIN->attached = 0;
      VIN->LPF = 0.0f;
    }
  }
  else if( VIN->HPF > 5.0f )
  {
    VIN->attached = 1;
    VIN->LPF = VIN->raw;
  }

  if( VIN->LPF < uvlo_level )
  {
    VIN->charged = 0;
  }
  else if( VIN->LPF > uvlo_level + uvlo_hyst )
  {
    VIN->charged = 1;
  }

  return 0;
}

void check_buttons(void)
{
  if( !LL_GPIO_IsInputPinSet( SW2_GPIO_Port, SW2_Pin) )
  {
    if( !LL_GPIO_IsInputPinSet( SW3_GPIO_Port, SW3_Pin) )
    {
      // user is noodle
    }
    else
    {
      prime = 0;
    }
  }
  else
  {
    if( !LL_GPIO_IsInputPinSet( SW3_GPIO_Port, SW3_Pin) )
    {
      prime = 1;
    }
    else
    {
      // do nothing
    }
  }
}

uint8_t buzzer_mutex = 0;
uint64_t buzzer_pulse_stamp = 0;
uint64_t buzzer_period_stamp = 0;

void power_control(void)
{
  static uint8_t start_fail_cnt = 0; // counter of failed start-up sequences

  // emergency shutdown if output did not start too many times
  if( start_fail_cnt >= emergency_start_threshold )
  {
    LL_GPIO_SetOutputPin(OE_CTL_GPIO_Port, OE_CTL_Pin); // reset channels output control
    LL_GPIO_ResetOutputPin(BUS_CTl_GPIO_Port, BUS_CTl_Pin); // disable power bus

    UART2_printf( "The bus did not reach PG status after %d attempts!\r\n", emergency_start_threshold);
    Error_Handler();
  }

  check_battery_input( &VIN2 );
  check_battery_input( &VIN3 );

  // Check buttons and select prime
  check_buttons();

#ifdef auto_prime_selection
  if( VIN2.charged && VIN3.charged )
  {
    prime = default_prime;
  }
#endif

  if( CHRG.raw > 3.0f )
  {
    // we're in charging mode
    LL_GPIO_ResetOutputPin(BUS_CTl_GPIO_Port, BUS_CTl_Pin); // disable power bus

    if( prime_VOUT == NULL )
    {
      LL_GPIO_SetOutputPin(OE_CTL_GPIO_Port, OE_CTL_Pin); // disable input channels

      micros_delay( 50000 );

      if( ( VIN2.raw > 10.0f ) && ( VIN2.raw < src_charged_level ) )
      {
        prime_VOUT = &VIN2;

        LL_GPIO_SetOutputPin(DEMUX_S0_CTL_GPIO_Port, DEMUX_S0_CTL_Pin);
        LL_GPIO_ResetOutputPin(OE_CTL_GPIO_Port, OE_CTL_Pin); // set channels output control

        micros_delay( 50000 );
      }
      else if( ( VIN3.raw > 10.0f ) && ( VIN3.raw < src_charged_level ) )
      {
        prime_VOUT = &VIN3;

        LL_GPIO_ResetOutputPin(DEMUX_S0_CTL_GPIO_Port, DEMUX_S0_CTL_Pin);
        LL_GPIO_ResetOutputPin(OE_CTL_GPIO_Port, OE_CTL_Pin); // set channels output control

        micros_delay( 50000 );
      }
      else
      {
        return ;
      }
    }

    static float my_current = 0.0f;

    my_current = my_current - (0.1f * (my_current - get_actual_current()));

    if( my_current < ( -1.3f * nom_chrg_curr ) )
    {
      // charging overcurrent event
      LL_GPIO_SetOutputPin(OE_CTL_GPIO_Port, OE_CTL_Pin); // reset channels output control
      LL_GPIO_ResetOutputPin(BUS_CTl_GPIO_Port, BUS_CTl_Pin); // disable power bus

      UART2_printf( "Charge  overcurrent event!\r\n");
      Error_Handler();
    }

    if( get_actual_current() > ( -0.075f * nom_chrg_curr ))
    {
      // battery takes no current = battery is charged
      prime_VOUT = NULL;
    }
  }
  else
  {
    prime_VOUT = NULL;

    // select suitable power source based on availability and user request
    if( prime == 0 )
    {
      if( VIN2.charged )
      {
        prime_VIN = &VIN2;
      }
      else if( VIN3.charged )
      {
        prime = 1; // switch ptime channel to VIN3
        prime_VIN = &VIN3;
      }
      else
      {
        prime_VIN = NULL;
      }
    }
    else
    {
      if( VIN3.charged )
      {
        prime_VIN = &VIN3;
      }
      else if( VIN2.charged )
      {
        prime = 0; // switch ptime channel to VIN2
        prime_VIN = &VIN2;
      }
      else
      {
        prime_VIN = NULL;
      }
    }

    // switch power rails
    if( prime_VIN != NULL )
    {
      uint64_t timestamp = 0;

      if( pc_enable )
      {
        // select desired channel on multiplexer
        if( !prime )
        {
          LL_GPIO_SetOutputPin(DEMUX_S0_CTL_GPIO_Port, DEMUX_S0_CTL_Pin);
        }
        else
        {
          LL_GPIO_ResetOutputPin(DEMUX_S0_CTL_GPIO_Port, DEMUX_S0_CTL_Pin);
        }

        LL_GPIO_ResetOutputPin(OE_CTL_GPIO_Port, OE_CTL_Pin); // set channels output control

        timestamp = micros();
        while( LL_GPIO_IsInputPinSet( prime_VIN->PG_port, prime_VIN->PG_pin) ) // wait until PG pin goes low ( PG = OK )
        {
          if( micros() > timestamp + 10000 ) // the bus didnt reach PG status in 10 ms = abort operation
          {
            LL_GPIO_SetOutputPin(OE_CTL_GPIO_Port, OE_CTL_Pin); // reset channels output control
            LL_GPIO_ResetOutputPin(BUS_CTl_GPIO_Port, BUS_CTl_Pin); // disable power bus

            micros_delay( 1000000 ); // wait for 1s before trying to enable bus again to prevent MOSFET damage

            start_fail_cnt++;

            return ;
          }
        }
      }
      else
      {
        LL_GPIO_SetOutputPin(OE_CTL_GPIO_Port, OE_CTL_Pin); // reset channels output control
        LL_GPIO_ResetOutputPin(BUS_CTl_GPIO_Port, BUS_CTl_Pin); // disable power bus
        return ;
      }

      if( bus_enable )
      {
        if( !LL_GPIO_IsOutputPinSet(BUS_CTl_GPIO_Port, BUS_CTl_Pin) )
        {
          LL_GPIO_SetOutputPin(BUS_CTl_GPIO_Port, BUS_CTl_Pin); // enable power bus
          micros_delay(2);
        }

        if( !LL_GPIO_IsInputPinSet( BUS_EN_GPIO_Port, BUS_EN_Pin) && LL_GPIO_IsOutputPinSet(BUS_CTl_GPIO_Port, BUS_CTl_Pin) )
        {
          emergency_stat = 1;
          LL_GPIO_ResetOutputPin(BUS_CTl_GPIO_Port, BUS_CTl_Pin); // disable power bus
        }
        else
        {
          emergency_stat = 0;

          timestamp = micros();
          while( LL_GPIO_IsInputPinSet( BUS_PG_GPIO_Port, BUS_PG_Pin) ) // wait until PG pin goes low ( PG = OK )
          {
            if( micros() > timestamp + bus_start_timeout ) // the bus didnt reach PG status in allotted time = abort operation
            {
              LL_GPIO_SetOutputPin(OE_CTL_GPIO_Port, OE_CTL_Pin); // reset channels output control
              LL_GPIO_ResetOutputPin(BUS_CTl_GPIO_Port, BUS_CTl_Pin); // disable power bus

              micros_delay( 1000000 ); // wait for 1s before trying to enable bus again to prevent MOSFET damage

              start_fail_cnt++;

              return ;
            }
          }
        }
      }
      else
      {
        LL_GPIO_ResetOutputPin(BUS_CTl_GPIO_Port, BUS_CTl_Pin); // disable power bus
        return ;
      }
    }
    else
    {
      // all dead, disable output

      LL_GPIO_SetOutputPin(OE_CTL_GPIO_Port, OE_CTL_Pin); // reset channels output control

      if( LL_GPIO_IsOutputPinSet(BUS_CTl_GPIO_Port, BUS_CTl_Pin) )
      {
        LL_GPIO_ResetOutputPin(BUS_CTl_GPIO_Port, BUS_CTl_Pin); // disable power bus
        micros_delay(200000);
      }

      if( buzzer_mutex < ALARM )
      {
        buzzer_mutex = ALARM;
        buzzer_pulse_stamp = micros() + 1000000u;
        buzzer_period_stamp = micros() + 2000000u;
      }
    }
  }
}

void indication(void)
{
  if( prime_VIN->LPF < uvlo_level + uvlo_hyst )
  {
    if( buzzer_mutex < WARNING )
    {
      buzzer_mutex = WARNING;
      buzzer_pulse_stamp = micros() + 300000u;
      buzzer_period_stamp = micros() + 1800000u;
    }
  }

  if( buzzer_mutex )
  {
    if( micros() < buzzer_pulse_stamp )
    {
      HAL_TIM_PWM_Start(&htim3, TIM_CHANNEL_1);
    }
    else if( micros() < buzzer_period_stamp )
    {
      HAL_TIM_PWM_Stop(&htim3, TIM_CHANNEL_1);
    }
    else
    {
      buzzer_mutex = 0;
    }
  }

  if( VIN2.attached ) { LL_GPIO_SetOutputPin(S2_red_GPIO_Port, S2_red_Pin);   }
  else                { LL_GPIO_ResetOutputPin(S2_red_GPIO_Port, S2_red_Pin); }

  if( VIN2.charged && pc_stat && LL_GPIO_IsOutputPinSet(DEMUX_S0_CTL_GPIO_Port, DEMUX_S0_CTL_Pin) )  { LL_GPIO_SetOutputPin(S2_grn_GPIO_Port, S2_grn_Pin);   }
  else                { LL_GPIO_ResetOutputPin(S2_grn_GPIO_Port, S2_grn_Pin); }

  if( VIN3.attached ) { LL_GPIO_SetOutputPin(S3_red_GPIO_Port, S3_red_Pin);   }
  else                { LL_GPIO_ResetOutputPin(S3_red_GPIO_Port, S3_red_Pin); }

  if( VIN3.charged && pc_stat && !LL_GPIO_IsOutputPinSet(DEMUX_S0_CTL_GPIO_Port, DEMUX_S0_CTL_Pin) )  { LL_GPIO_SetOutputPin(S3_grn_GPIO_Port, S3_grn_Pin);   }
  else                { LL_GPIO_ResetOutputPin(S3_grn_GPIO_Port, S3_grn_Pin); }
}

void HAL_TIM_PeriodElapsedCallback(TIM_HandleTypeDef *htim)
{
  if( htim->Instance == TIM6 )
  {
    VIN2.raw = 16.0f*3.3f*(float)ADC1_buf[3] / ( 4096.0f );
    VIN2.LPF = VIN2.LPF - (0.005f * (VIN2.LPF - VIN2.raw));
    VIN2.HPF = VIN2.raw - VIN2.LPF;

    VIN3.raw = 16.0f*3.3f*(float)ADC1_buf[4] / ( 4096.0f );
    VIN3.LPF = VIN3.LPF - (0.005f * (VIN3.LPF - VIN3.raw));
    VIN3.HPF = VIN3.raw - VIN3.LPF;

    CHRG.raw = 16.0f*3.3f*(float)ADC1_buf[0] / ( 4096.0f );
    CHRG.LPF = CHRG.LPF - (0.005f * (CHRG.LPF - CHRG.raw));
    CHRG.HPF = CHRG.raw - CHRG.LPF;

    return ;
  }
  else if( htim->Instance == TIM7 )
  {
    TIM7_ITs++;
  }
  else if( htim->Instance == TIM16 )
  {
    power_control();

    pc_stat = !LL_GPIO_IsOutputPinSet(OE_CTL_GPIO_Port, OE_CTL_Pin);
    bus_stat = LL_GPIO_IsOutputPinSet(BUS_CTl_GPIO_Port, BUS_CTl_Pin);

    indication();
  }
}

uint8_t FDCAN_PushFrame( uint32_t id, uint8_t data_size, uint8_t *data )
{
  FDCAN_TxHeaderTypeDef TxHeader;

  if (HAL_FDCAN_GetTxFifoFreeLevel(&hfdcan1) != 0)
  {
    // Add message to Tx FIFO
    TxHeader.Identifier = id;
    TxHeader.IdType = FDCAN_EXTENDED_ID;
    TxHeader.TxFrameType = FDCAN_DATA_FRAME;
    TxHeader.DataLength = LengthCoder( data_size );
    TxHeader.ErrorStateIndicator = FDCAN_ESI_ACTIVE;
    TxHeader.BitRateSwitch = FDCAN_BRS_ON;
    TxHeader.FDFormat = FDCAN_FD_CAN;
    TxHeader.TxEventFifoControl = FDCAN_STORE_TX_EVENTS;
    TxHeader.MessageMarker = 0x00;
    if (HAL_FDCAN_AddMessageToTxFifoQ(&hfdcan1, &TxHeader, data) != HAL_OK)
    {
      Error_Handler();
    }

    return 0;
  }

  return 1;
}

uint8_t FDCAN_ProcessFifo(void)
{
  while( HAL_FDCAN_GetRxFifoFillLevel(&hfdcan1, FDCAN_RX_FIFO0) > 0 )
  {
    FDCAN_RxHeaderTypeDef RxHeader;
    uint8_t RxData[64];

    if (HAL_FDCAN_GetRxMessage(&hfdcan1, FDCAN_RX_FIFO0, &RxHeader, RxData) != HAL_OK){ Error_Handler(); }

    FDCAN_RxProcessing( RxHeader.Identifier, LengthDecoder(RxHeader.DataLength), RxData);
  }
}

void UART2_printf( const char * format, ... )
{
  char buffer[256] = {0};
  va_list args;
  va_start (args, format);
  int len = vsprintf (buffer,format, args);
  va_end (args);

  HAL_UART_Transmit(&huart2, (const uint8_t*)buffer, len, 100);
}
/* USER CODE END 4 */

void Error_Handler(void)
{
  /* USER CODE BEGIN Error_Handler_Debug */
  LL_GPIO_SetOutputPin(OE_CTL_GPIO_Port, OE_CTL_Pin); // reset channels output control
  LL_GPIO_ResetOutputPin(BUS_CTl_GPIO_Port, BUS_CTl_Pin); // disable power bus

  LL_GPIO_SetOutputPin(S1_red_GPIO_Port, S1_red_Pin);
  LL_GPIO_SetOutputPin(S2_red_GPIO_Port, S2_red_Pin);
  LL_GPIO_SetOutputPin(S3_red_GPIO_Port, S3_red_Pin);

  LL_GPIO_SetOutputPin(S1_grn_GPIO_Port, S1_grn_Pin);
  LL_GPIO_SetOutputPin(S2_grn_GPIO_Port, S2_grn_Pin);
  LL_GPIO_SetOutputPin(S3_grn_GPIO_Port, S3_grn_Pin);

  UART2_printf( "I've fallen into Error Handler!\r\n");
  /* User can add his own implementation to report the HAL error return state */
  __disable_irq();
  while (1)
  {
  }
  /* USER CODE END Error_Handler_Debug */
}
